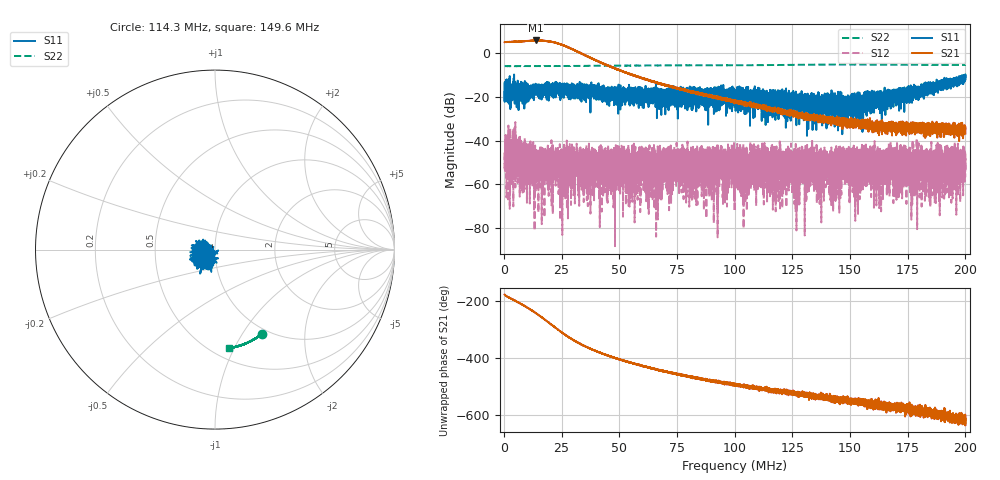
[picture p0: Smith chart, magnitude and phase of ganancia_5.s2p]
# Hz S DB R 50
! CMT, M5065, 19127446, 24.2.4/2
! Date: 11/8/2024 3:47:06 PM
! Data: Format (Calibration Info)
! Freq	S11:dB/Ang(F2)	S21:dB/Ang(F2)	S12:dB/Ang(F2)	S22:dB/Ang(F2)
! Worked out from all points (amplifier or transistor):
!   9000 points, 300 kHz to 200 MHz, reference 50 ohm
!   highest |S21| = 5.9 dB at 13.79 MHz (marker M1)
!   |S21| within 3 dB of that: start of sweep to 27.45 MHz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
!   unconditionally stable (mu >= 1): start of sweep to end of sweep
!   at 33.59 MHz: K = 62.29, MAG = 1.4 dB, |S12| = -44.7 dB
!   at 100.2 MHz: K = 3382.81, MAG = -21.1 dB, |S12| = -57.0 dB
!   at 200 MHz: K = 7391.89, MAG = -34.8 dB, |S12| = -50.6 dB
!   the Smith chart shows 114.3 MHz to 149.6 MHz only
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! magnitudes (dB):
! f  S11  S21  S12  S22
! 300 kHz  -17.9  5.2  -45.5  -5.8
! 13.79 MHz  -18.4  5.9  -53.5  -5.8
! 33.59 MHz  -17.3  0.0  -44.7  -5.7
! 66.87 MHz  -18.4  -13.5  -63.6  -5.5
! 100.2 MHz  -23.7  -22.6  -57.0  -5.5
! 120.8 MHz  -27.3  -28.0  -49.8  -5.3
! 123.9 MHz  -23.4  -27.6  -50.3  -5.3
! 131.3 MHz  -22.6  -29.1  -57.9  -5.2
! 133.4 MHz  -20.5  -29.7  -55.0  -5.2
! 136.8 MHz  -23.0  -29.1  -59.8  -5.2
! 139.8 MHz  -23.3  -30.0  -48.0  -5.1
! 143.3 MHz  -21.8  -31.1  -48.3  -5.2
! 147.6 MHz  -25.1  -30.4  -50.7  -5.1
! 153.1 MHz  -24.7  -33.2  -47.5  -5.1
! 154.8 MHz  -25.4  -34.5  -48.5  -5.1
! 157.3 MHz  -22.8  -32.9  -50.3  -5.1
! 160.1 MHz  -17.7  -31.8  -57.6  -5.1
! 166.7 MHz  -23.3  -33.8  -54.4  -5.2
! 176.3 MHz  -17.3  -35.0  -47.3  -5.2
! 179.9 MHz  -16.0  -31.9  -45.4  -5.2
! 185.3 MHz  -16.3  -34.9  -50.5  -5.3
! 200 MHz  -9.8  -36.8  -50.6  -5.3
